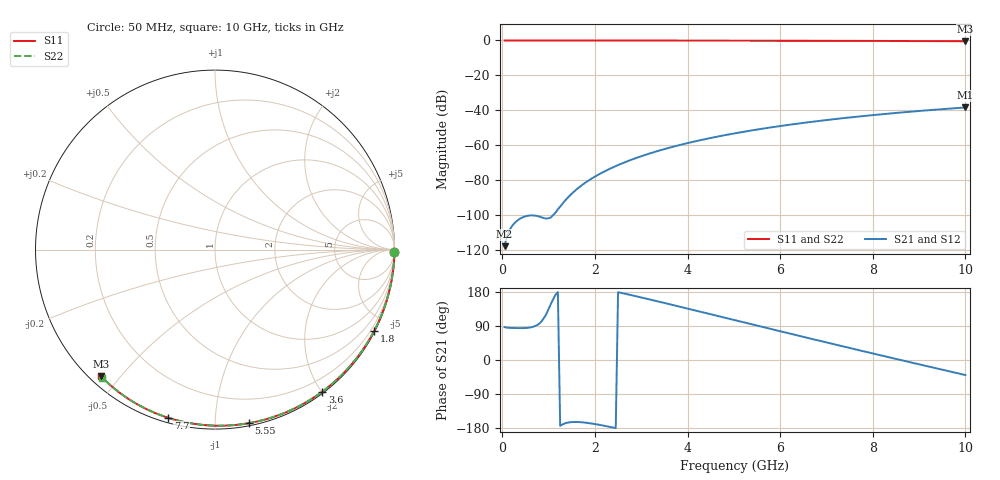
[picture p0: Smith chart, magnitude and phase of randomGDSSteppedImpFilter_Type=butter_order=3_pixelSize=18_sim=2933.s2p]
! freq	dB(S11)	phase(S11)	dB(S12)	phase(S12)
!  dB(S21)	phase(S21)	dB(S22)	phase(S22)
!S-par simulation data
#  GHz  S  DB  R 50
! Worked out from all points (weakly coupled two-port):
!   200 points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, 50 MHz to 10 GHz, reference 50 ohm
!   highest |S21| = -38.38 dB at 10 GHz (marker M1); lowest = -117.8 dB at 50 MHz (marker M2)
!   lowest |S11| = -0.4 dB at 10 GHz (marker M3), VSWR 38.87, Z = 1.54 - j22.2 ohm
!   |S11| at or under -10 dB: nowhere
!   |S22| runs from -0.4 to 0.0 dB; largest |S21 - S12| = 0
!   S11 on the Smith chart (normalised r, x): 50 MHz: open; 1.8 GHz: 0.04, -4.15; 3.6 GHz: 0.02, -2.01; 5.55 GHz: 0.02, -1.21; 7.7 GHz: 0.02, -0.76; 10 GHz: 0.03, -0.44
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0.05  -0.00 -0.8  -117.82 86.8  -117.82 86.8  -0.00 -0.8
0.9  -0.02 -13.7  -101.76 111.0  -101.76 111.0  -0.02 -13.6
1.75  -0.03 -26.3  -82.28 -164.7  -82.28 -164.7  -0.03 -26.2
1.8  -0.03 -27.1  -81.34 -165.4  -81.34 -165.4  -0.03 -26.9
1.85  -0.04 -27.8  -80.45 -166.2  -80.45 -166.2  -0.04 -27.6
1.9  -0.04 -28.5  -79.59 -167.1  -79.59 -167.1  -0.04 -28.4
2.05  -0.04 -30.8  -77.22 -170.1  -77.22 -170.1  -0.04 -30.6
2.25  -0.04 -33.7  -74.41 -174.7  -74.41 -174.7  -0.04 -33.5
2.45  -0.05 -36.6  -71.94 -179.8  -71.94 -179.8  -0.05 -36.4
2.65  -0.05 -39.5  -69.72 174.9  -69.72 174.9  -0.05 -39.2
3  -0.06 -44.5  -66.31 165.1  -66.31 165.1  -0.06 -44.2
3.4  -0.07 -50.1  -62.97 153.5  -62.97 153.5  -0.07 -49.8
3.6  -0.07 -52.9  -61.48 147.6  -61.48 147.6  -0.07 -52.6
4.3  -0.09 -62.6  -56.97 126.7  -56.97 126.7  -0.09 -62.2
5.05  -0.11 -72.6  -53.05 104.2  -53.05 104.2  -0.11 -72.1
5.55  -0.13 -79.1  -50.82 89.3  -50.82 89.3  -0.13 -78.6
6.1  -0.15 -86.0  -48.64 72.9  -48.64 72.9  -0.15 -85.6
6.7  -0.18 -93.5  -46.54 55.2  -46.54 55.2  -0.18 -93.0
7.7  -0.24 -105.6  -43.55 25.9  -43.55 25.9  -0.24 -105.0
8.35  -0.29 -113.2  -41.88 7.2  -41.88 7.2  -0.29 -112.6
9.15  -0.36 -122.4  -40.06 -15.7  -40.06 -15.7  -0.36 -121.8
10  -0.45 -132.1  -38.38 -39.7  -38.38 -39.7  -0.44 -131.4
